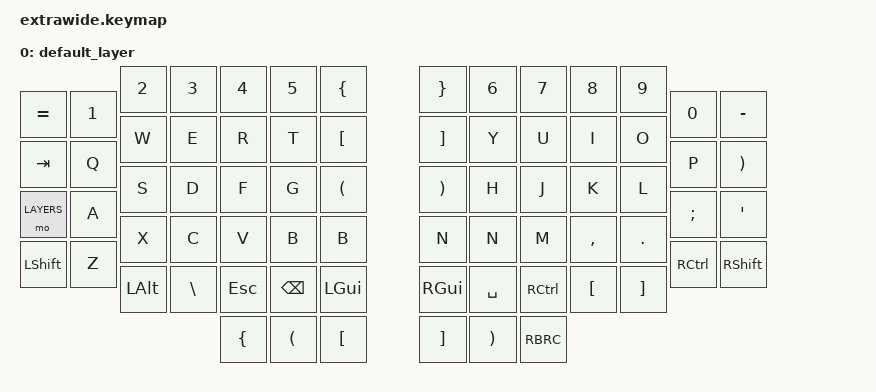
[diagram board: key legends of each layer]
#include <behaviors.dtsi>
#include <dt-bindings/zmk/keys.h>
#include <dt-bindings/zmk/bt.h>
#include <dt-bindings/zmk/outputs.h>

/ {
    keymap {
        compatible = "zmk,keymap";

        default_layer {
            bindings = <
                &kp EQUAL  &kp N1 &kp N2   &kp N3   &kp N4   &kp N5   &kp LBRC        &kp RBRC    &kp N6    &kp N7    &kp N8    &kp N9   &kp N0     &kp MINUS
                &kp TAB    &kp Q  &kp W    &kp E    &kp R    &kp T    &kp LBKT        &kp RBKT    &kp Y     &kp U     &kp I     &kp O    &kp P      &kp RPAR
                &mo LAYERS &kp A  &kp S    &kp D    &kp F    &kp G    &kp LPAR        &kp RPAR    &kp H     &kp J     &kp K     &kp L    &kp SEMI   &kp SQT
                &kp LSHFT  &kp Z  &kp X    &kp C    &kp V    &kp B    &kp B           &kp N       &kp N     &kp M     &kp COMMA &kp DOT  &kp RCTRL  &kp RSHFT
                                 &kp LALT &kp BSLH &kp ESC   &kp BSPC &kp LGUI        &kp RGUI    &kp SPACE &kp RCTRL &kp LBKT  &kp RBKT
                                                   &kp LBRC  &kp LPAR &kp LBKT        &kp RBKT    &kp RPAR  &RBRC

            >;
        };
    };
};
